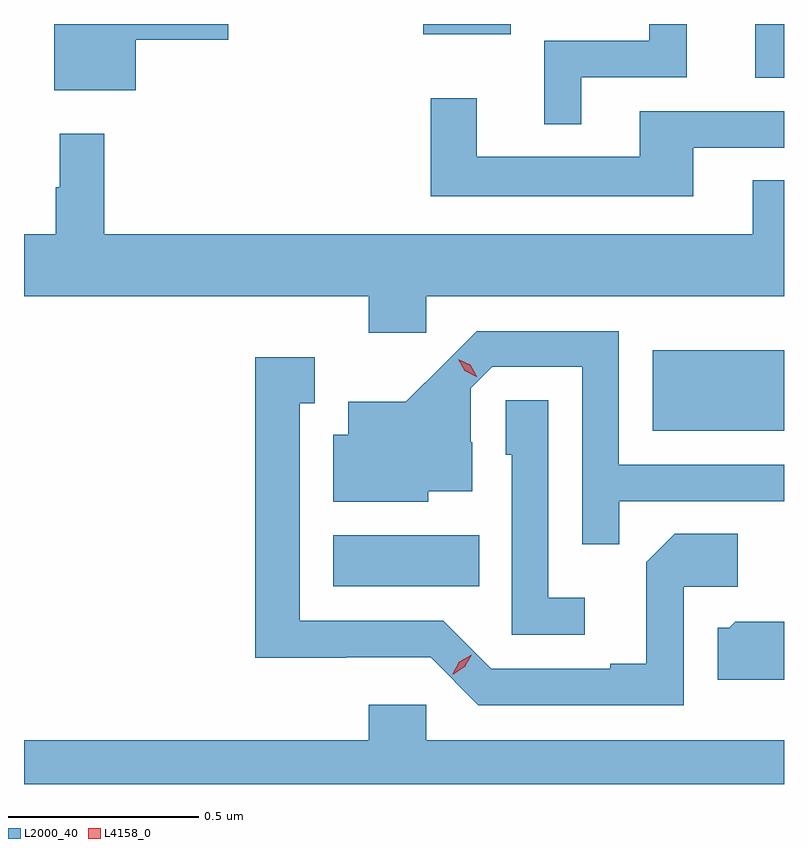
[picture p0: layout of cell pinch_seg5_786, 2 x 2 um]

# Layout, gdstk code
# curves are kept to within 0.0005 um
import gdstk
lib = gdstk.Library(unit=1e-6, precision=1e-09)
def R(c, l, rs):  # rectangles x0, y0, x1, y1
    for r in rs: c.add(gdstk.rectangle(r[:2], r[2:], *l))
def P(c, l, *ps):  # polygons
    for p in ps: c.add(gdstk.Polygon(p, *l))
L2000_40 = (2000, 40)
L4158_0 = (4158, 0)

pinch_seg5_786 = lib.new_cell('pinch_seg5_786')
R(pinch_seg5_786, L2000_40, [(801.374,897.29,801.758,897.424), (802.214,897.698,802.56,897.91), (802.484,898.628,802.56,898.769), (801.611,898.742,801.841,898.769)])
P(pinch_seg5_786, L2000_40, [(802.027,898.629),(802.304,898.629),(802.304,898.769),(802.206,898.769),(802.206,898.725),(801.929,898.725),(801.929,898.505),(802.027,898.505)],
  [(800.854,898.727),(801.097,898.727),(801.097,898.769),(800.639,898.769),(800.639,898.595),(800.854,898.595)],
  [(802.321,898.443),(802.56,898.443),(802.56,898.539),(802.181,898.539),(802.181,898.42),(801.751,898.42),(801.751,898.573),(801.63,898.573),(801.63,898.316),(802.321,898.316)],
  [(801.618,898.052),(802.56,898.052),(802.56,898.358),(802.478,898.358),(802.478,898.216),(800.771,898.216),(800.771,898.48),(800.654,898.48),(800.654,898.34),(800.643,898.34),(800.643,898.216),(800.56,898.216),(800.56,898.052),(801.467,898.052),(801.467,897.957),(801.618,897.957)],
  [(802.127,897.513),(802.56,897.513),(802.56,897.609),(802.125,897.609),(802.125,897.96),(801.752,897.96),(801.565,897.775),(801.413,897.775),(801.413,897.688),(801.374,897.688),(801.374,897.512),(801.624,897.512),(801.624,897.539),(801.739,897.539),(801.739,897.668),(801.735,897.668),(801.735,897.81),(801.792,897.867),(802.029,897.867),(802.029,897.4),(802.127,897.4)],
  [(802.296,897.288),(802.438,897.288),(802.438,897.428),(802.273,897.428),(802.197,897.352),(802.197,897.085),(802.103,897.085),(802.103,897.072),(801.789,897.072),(801.663,897.198),(801.286,897.198),(801.286,897.771),(801.325,897.771),(801.325,897.892),(801.168,897.892),(801.168,897.101),(801.408,897.101),(801.408,897.102),(801.63,897.102),(801.756,896.976),(802.296,896.976)],
  [(802.036,897.259),(801.939,897.259),(801.939,897.779),(801.828,897.779),(801.828,897.636),(801.843,897.636),(801.843,897.162),(802.036,897.162)],
  [(802.56,897.196),(802.432,897.196),(802.416,897.18),(802.385,897.18),(802.385,897.044),(802.56,897.044)],
  [(802.56,896.884),(801.618,896.884),(801.618,896.977),(801.467,896.977),(801.467,896.884),(800.56,896.884),(800.56,896.769),(802.56,896.769)])
P(pinch_seg5_786, L4158_0, [(801.75,897.841),(801.72,897.857),(801.703,897.887),(801.703,897.887),(801.703,897.887),(801.734,897.872),(801.751,897.842),(801.751,897.841)],
  [(801.688,897.058),(801.688,897.059),(801.706,897.091),(801.738,897.109),(801.738,897.109),(801.738,897.109),(801.72,897.077),(801.689,897.058)])

lib.write_gds('pinch_seg5_786.gds')
